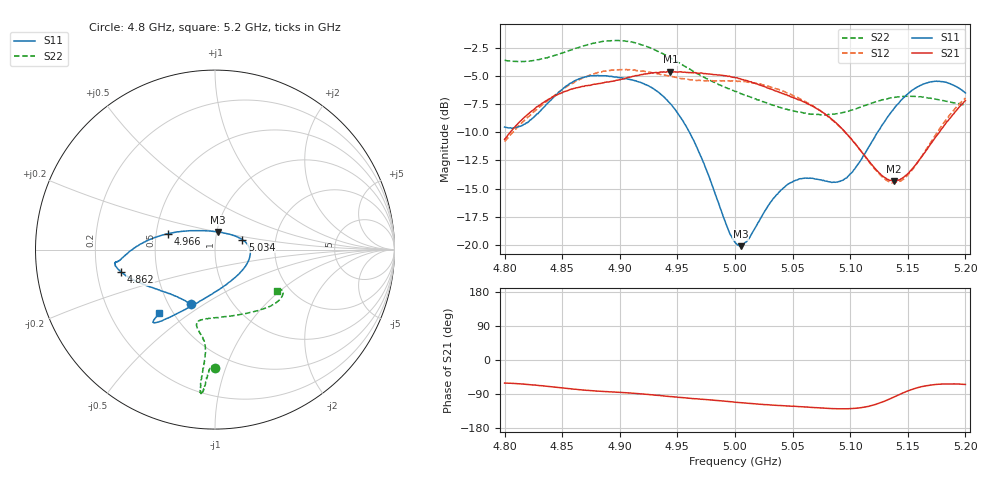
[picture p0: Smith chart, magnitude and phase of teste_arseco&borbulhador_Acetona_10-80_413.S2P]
! Network Analyzer HP8722D
! Hewlett-Packard
! Data name: Linha & Wilkinson
! Saver's name: Rodrigo Anjos
! Comments: Teste da utilização de aquisição
! continua pelo VNA HP8722D
! Time and date: 17/4/2025 17:48
!  Frequency  S11  S21  S12  S22
# HZ  S  MA R 50
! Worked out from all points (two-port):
!   401 points, 4.8 GHz to 5.2 GHz, reference 50 ohm
!   highest |S21| = -4.63 dB at 4.944 GHz (marker M1); lowest = -14.3 dB at 5.138 GHz (marker M2)
!   |S21| within 3 dB of the highest: 4.83 GHz to 5.066 GHz (236 MHz wide, 4.77 % of centre); 5.195932 GHz to end of sweep
!   lowest |S11| = -20.1 dB at 5.005 GHz (marker M3), VSWR 1.22, Z = 50.6 + j10 ohm
!   |S11| at or under -10 dB: 4.96 GHz to 5.124 GHz (163.3 MHz wide, 3.24 % of centre)
!   |S22| runs from -8.5 to -1.9 dB; largest |S21 - S12| = 0.88
!   S11 on the Smith chart (normalised r, x): 4.8 GHz: 0.64, -0.44; 4.862 GHz: 0.30, -0.11; 4.966 GHz: 0.58, +0.11; 5.034 GHz: 1.35, +0.15; 5.2 GHz: 0.42, -0.38
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4.8e9  0.3335 -113.8  0.2942 -60.9  0.2875 -175.1  0.6582 -90.1
4.819e9  0.3482 -133.9  0.3751 -64.3  0.3641 -173.8  0.6528 -91.7
4.862e9  0.5377 -166.5  0.4974 -77.2  0.532 -177.2  0.7455 -94.1
4.867e9  0.5505 -168.4  0.5038 -79.0  0.547 -178.1  0.7574 -94.2
4.899e9  0.552 -172.9  0.5389 -85.4  0.5979 175.4  0.8053 -95.6
4.934e9  0.4737 -179.0  0.581 -93.6  0.5741 171.7  0.7162 -96.1
4.944e9  0.423 176.4  0.5866 -96.4  0.5586 171.9  0.6743 -95.8
4.966e9  0.2771 161.5  0.5798 -102.2  0.5363 173.5  0.5795 -95.2
4.994e9  0.1177 117.0  0.5583 -109.5  0.5342 175.9  0.4931 -98.1
5e9  0.1031 98.2  0.5525 -111.4  0.5342 176.1  0.4792 -99.4
5.005e9  0.09904 80.8  0.5441 -112.7  0.5305 176.1  0.4685 -100.7
5.012e9  0.1066 58.7  0.5306 -114.4  0.5257 175.9  0.4556 -102.1
5.034e9  0.1624 20.1  0.4844 -119.3  0.4961 174.6  0.4156 -103.6
5.049e9  0.1896 4.7  0.4523 -121.9  0.4637 174.0  0.3946 -99.9
5.067e9  0.1979 -14.6  0.4134 -125.2  0.4154 173.4  0.3802 -90.5
5.086e9  0.1905 -44.9  0.3546 -128.4  0.3527 173.6  0.3801 -76.1
5.097e9  0.1985 -67.5  0.3106 -128.7  0.3109 174.7  0.3903 -67.1
5.134e9  0.378 -117.1  0.194 -103.2  0.1905 -156.2  0.4477 -43.1
5.138e9  0.4025 -119.5  0.1923 -97.5  0.1892 -149.8  0.4506 -41.2
5.151e9  0.4718 -125.2  0.2092 -80.6  0.2075 -130.0  0.4563 -36.5
5.17e9  0.5285 -129.5  0.281 -66.0  0.286 -112.2  0.4469 -32.0
5.2e9  0.4717 -131.2  0.4366 -64.6  0.4483 -106.7  0.4165 -33.5
